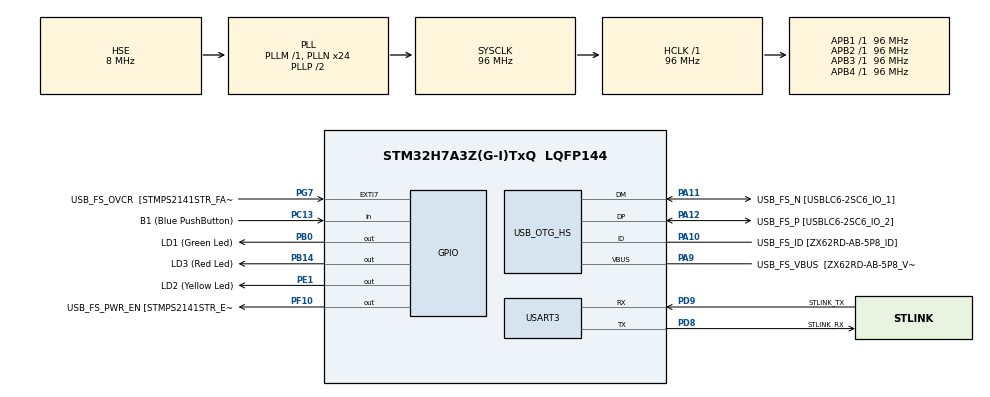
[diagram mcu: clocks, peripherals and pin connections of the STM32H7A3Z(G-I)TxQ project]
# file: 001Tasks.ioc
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Mcu.Family=STM32H7
Mcu.Name=STM32H7A3Z(G-I)TxQ
Mcu.Package=LQFP144
NVIC.PriorityGroup=NVIC_PRIORITYGROUP_4
NVIC.TIM6_DAC_IRQn=true\:15\:0\:false\:false\:true\:false\:true\:true
NVIC.TimeBase=TIM6_DAC_IRQn
NVIC.TimeBaseIP=TIM6
PA10.GPIO_Label=USB_FS_ID [ZX62RD-AB-5P8_ID]
PA10.Mode=OTG/Dual-Role-Device-FS
PA10.Signal=USB_OTG_HS_ID
PA11.GPIO_Label=USB_FS_N [USBLC6-2SC6_IO_1]
PA11.Mode=OTG/Dual-Role-Device-FS
PA11.Signal=USB_OTG_HS_DM
PA12.GPIO_Label=USB_FS_P [USBLC6-2SC6_IO_2]
PA12.Mode=OTG/Dual-Role-Device-FS
PA12.Signal=USB_OTG_HS_DP
PA9.GPIO_Label=USB_FS_VBUS  [ZX62RD-AB-5P8_VBUS]
PA9.Mode=Activate_VBUS_FS
PA9.Signal=USB_OTG_HS_VBUS
PB0.GPIO_Label=LD1 (Green Led)
PB0.Signal=GPIO_Output
PB14.GPIO_Label=LD3 (Red Led)
PB14.Signal=GPIO_Output
PC13.GPIO_Label=B1 (Blue PushButton)
PC13.Signal=GPIO_Input
PC14-OSC32_IN.GPIO_Label=OSC32_IN
PC14-OSC32_IN.Mode=LSE-External-Oscillator
PC14-OSC32_IN.Signal=RCC_OSC32_IN
PC15-OSC32_OUT.GPIO_Label=OSC32_OUT
PC15-OSC32_OUT.Mode=LSE-External-Oscillator
PC15-OSC32_OUT.Signal=RCC_OSC32_OUT
PD8.GPIO_Label=STLINK_RX
PD8.Mode=Asynchronous
PD8.Signal=USART3_TX
PD9.GPIO_Label=STLINK_TX
PD9.Mode=Asynchronous
PD9.Signal=USART3_RX
PE1.GPIO_Label=LD2 (Yellow Led)
PE1.Signal=GPIO_Output
PF10.GPIO_Label=USB_FS_PWR_EN [STMPS2141STR_EN]
PF10.Signal=GPIO_Output
PG7.GPIO_Label=USB_FS_OVCR  [STMPS2141STR_FAULT]
PG7.Signal=GPXTI7
PH0-OSC_IN.GPIO_Label=PH0-MCU
PH0-OSC_IN.Mode=HSE-External-Clock-Source
PH0-OSC_IN.Signal=RCC_OSC_IN
PH1-OSC_OUT.GPIO_Label=PH1-MCU
PH1-OSC_OUT.Signal=RCC_OSC_OUT
ProjectManager.HeapSize=0x200
ProjectManager.StackSize=0x400
ProjectManager.TargetToolchain=STM32CubeIDE
RCC.ADCFreq_Value=16125000
RCC.APB1Freq_Value=96000000
RCC.APB2Freq_Value=96000000
RCC.APB3Freq_Value=96000000
RCC.APB4Freq_Value=96000000
RCC.CortexFreq_Value=96000000
RCC.DIVM1=1
RCC.DIVM3=1
RCC.DIVN1=24
RCC.DIVN3=24
RCC.DIVQ1=4
RCC.HCLKFreq_Value=96000000
RCC.HSE_VALUE=8000000
RCC.PLLFRACN=0
RCC.PLLSourceVirtual=RCC_PLLSOURCE_HSE
RCC.PWR_Regulator_Voltage_Scale=PWR_REGULATOR_VOLTAGE_SCALE0
RCC.SYSCLKFreq_VALUE=96000000
RCC.SYSCLKSource=RCC_SYSCLKSOURCE_PLLCLK
RCC.SupplySource=PWR_DIRECT_SMPS_SUPPLY
RCC.USBCLockSelection=RCC_USBCLKSOURCE_HSI48
RCC.USBFreq_Value=48000000
USART3.VirtualMode-Asynchronous=VM_ASYNC
VP_SYS_VS_tim6.Mode=TIM6
board=NUCLEO-H7A3ZI-Q

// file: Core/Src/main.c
/* USER CODE BEGIN Header */
/**
  ******************************************************************************
  * @file           : main.c
  * @brief          : Main program body
  ******************************************************************************
  * @attention
  *
  * Copyright (c) 2023 STMicroelectronics.
  * All rights reserved.
  *
  * This software is licensed under terms that can be found in the LICENSE file
  * in the root directory of this software component.
  * If no LICENSE file comes with this software, it is provided AS-IS.
  *
  ******************************************************************************
  */
/* USER CODE END Header */
#include "main.h"

/* USER CODE BEGIN Includes */
#include "FreeRTOS.h"
#include "task.h"
#include <stdio.h>
/* USER CODE END Includes */

UART_HandleTypeDef huart3;

void SystemClock_Config(void);
static void MX_GPIO_Init(void);
static void MX_USART3_UART_Init(void);
static void MX_USB_OTG_HS_USB_Init(void);
/* USER CODE BEGIN PFP */

static void Task1_handler(void *parameters);
static void Task2_handler(void *parameters);

/* USER CODE END PFP */

int main(void)
{
  /* USER CODE BEGIN 1 */

	TaskHandle_t task1_handle;
	TaskHandle_t  task2_handle;

	BaseType_t status;
  /* USER CODE END 1 */

  /* MCU Configuration--------------------------------------------------------*/

  /* Reset of all peripherals, Initializes the Flash interface and the Systick. */
  HAL_Init();

  /* Configure the system clock */
  SystemClock_Config();

  /* Initialize all configured peripherals */
  MX_GPIO_Init();
  MX_USART3_UART_Init();
  MX_USB_OTG_HS_USB_Init();
  /* USER CODE BEGIN 2 */
  status = xTaskCreate(Task1_handler, "Task-1", 200, "Hello World from Task-1", 2, &task1_handle);

  configASSERT(status == pdPASS);

  status = xTaskCreate(Task2_handler, "Task-2", 200, "Hello world from Task-2", 2, &task2_handle);

  configASSERT(status == pdPASS);

  //start freeRTOS schedular
  vTaskStartScheduler();

  //if control is comes here that means there is no memory int he heap to create
  // new task

  /* USER CODE END 2 */

  /* Infinite loop */
  while (1)
  {

  }
}

void SystemClock_Config(void)
{
  RCC_OscInitTypeDef RCC_OscInitStruct = {0};
  RCC_ClkInitTypeDef RCC_ClkInitStruct = {0};

  /*AXI clock gating */
  RCC->CKGAENR = 0xFFFFFFFF;

  /** Supply configuration update enable
  */
  HAL_PWREx_ConfigSupply(PWR_DIRECT_SMPS_SUPPLY);

  /** Configure the main internal regulator output voltage
  */
  __HAL_PWR_VOLTAGESCALING_CONFIG(PWR_REGULATOR_VOLTAGE_SCALE0);

  while(!__HAL_PWR_GET_FLAG(PWR_FLAG_VOSRDY)) {}

  /** Initializes the RCC Oscillators according to the specified parameters
  * in the RCC_OscInitTypeDef structure.
  */
  RCC_OscInitStruct.OscillatorType = RCC_OSCILLATORTYPE_HSI48|RCC_OSCILLATORTYPE_HSE;
  RCC_OscInitStruct.HSEState = RCC_HSE_BYPASS;
  RCC_OscInitStruct.HSI48State = RCC_HSI48_ON;
  RCC_OscInitStruct.PLL.PLLState = RCC_PLL_ON;
  RCC_OscInitStruct.PLL.PLLSource = RCC_PLLSOURCE_HSE;
  RCC_OscInitStruct.PLL.PLLM = 1;
  RCC_OscInitStruct.PLL.PLLN = 24;
  RCC_OscInitStruct.PLL.PLLP = 2;
  RCC_OscInitStruct.PLL.PLLQ = 4;
  RCC_OscInitStruct.PLL.PLLR = 2;
  RCC_OscInitStruct.PLL.PLLRGE = RCC_PLL1VCIRANGE_3;
  RCC_OscInitStruct.PLL.PLLVCOSEL = RCC_PLL1VCOWIDE;
  RCC_OscInitStruct.PLL.PLLFRACN = 0;
  if (HAL_RCC_OscConfig(&RCC_OscInitStruct) != HAL_OK)
  {
    Error_Handler();
  }

  /** Initializes the CPU, AHB and APB buses clocks
  */
  RCC_ClkInitStruct.ClockType = RCC_CLOCKTYPE_HCLK|RCC_CLOCKTYPE_SYSCLK
                              |RCC_CLOCKTYPE_PCLK1|RCC_CLOCKTYPE_PCLK2
                              |RCC_CLOCKTYPE_D3PCLK1|RCC_CLOCKTYPE_D1PCLK1;
  RCC_ClkInitStruct.SYSCLKSource = RCC_SYSCLKSOURCE_PLLCLK;
  RCC_ClkInitStruct.SYSCLKDivider = RCC_SYSCLK_DIV1;
  RCC_ClkInitStruct.AHBCLKDivider = RCC_HCLK_DIV1;
  RCC_ClkInitStruct.APB3CLKDivider = RCC_APB3_DIV1;
  RCC_ClkInitStruct.APB1CLKDivider = RCC_APB1_DIV1;
  RCC_ClkInitStruct.APB2CLKDivider = RCC_APB2_DIV1;
  RCC_ClkInitStruct.APB4CLKDivider = RCC_APB4_DIV1;

  if (HAL_RCC_ClockConfig(&RCC_ClkInitStruct, FLASH_LATENCY_2) != HAL_OK)
  {
    Error_Handler();
  }
}

static void MX_USART3_UART_Init(void)
{

  huart3.Instance = USART3;
  huart3.Init.BaudRate = 115200;
  huart3.Init.WordLength = UART_WORDLENGTH_8B;
  huart3.Init.StopBits = UART_STOPBITS_1;
  huart3.Init.Parity = UART_PARITY_NONE;
  huart3.Init.Mode = UART_MODE_TX_RX;
  huart3.Init.HwFlowCtl = UART_HWCONTROL_NONE;
  huart3.Init.OverSampling = UART_OVERSAMPLING_16;
  huart3.Init.OneBitSampling = UART_ONE_BIT_SAMPLE_DISABLE;
  huart3.Init.ClockPrescaler = UART_PRESCALER_DIV1;
  huart3.AdvancedInit.AdvFeatureInit = UART_ADVFEATURE_NO_INIT;
  if (HAL_UART_Init(&huart3) != HAL_OK)
  {
    Error_Handler();
  }
  if (HAL_UARTEx_SetTxFifoThreshold(&huart3, UART_TXFIFO_THRESHOLD_1_8) != HAL_OK)
  {
    Error_Handler();
  }
  if (HAL_UARTEx_SetRxFifoThreshold(&huart3, UART_RXFIFO_THRESHOLD_1_8) != HAL_OK)
  {
    Error_Handler();
  }
  if (HAL_UARTEx_DisableFifoMode(&huart3) != HAL_OK)
  {
    Error_Handler();
  }

}

static void MX_USB_OTG_HS_USB_Init(void)
{

}

static void MX_GPIO_Init(void)
{
  GPIO_InitTypeDef GPIO_InitStruct = {0};

  /* GPIO Ports Clock Enable */
  __HAL_RCC_GPIOC_CLK_ENABLE();
  __HAL_RCC_GPIOF_CLK_ENABLE();
  __HAL_RCC_GPIOH_CLK_ENABLE();
  __HAL_RCC_GPIOB_CLK_ENABLE();
  __HAL_RCC_GPIOD_CLK_ENABLE();
  __HAL_RCC_GPIOG_CLK_ENABLE();
  __HAL_RCC_GPIOA_CLK_ENABLE();
  __HAL_RCC_GPIOE_CLK_ENABLE();

  /*Configure GPIO pin Output Level */
  HAL_GPIO_WritePin(USB_FS_PWR_EN_GPIO_Port, USB_FS_PWR_EN_Pin, GPIO_PIN_RESET);

  /*Configure GPIO pin Output Level */
  HAL_GPIO_WritePin(GPIOB, LD1_Pin|LD3_Pin, GPIO_PIN_RESET);

  /*Configure GPIO pin Output Level */
  HAL_GPIO_WritePin(LD2_GPIO_Port, LD2_Pin, GPIO_PIN_RESET);

  /*Configure GPIO pin : B1_Pin */
  GPIO_InitStruct.Pin = B1_Pin;
  GPIO_InitStruct.Mode = GPIO_MODE_INPUT;
  GPIO_InitStruct.Pull = GPIO_NOPULL;
  HAL_GPIO_Init(B1_GPIO_Port, &GPIO_InitStruct);

  /*Configure GPIO pin : USB_FS_PWR_EN_Pin */
  GPIO_InitStruct.Pin = USB_FS_PWR_EN_Pin;
  GPIO_InitStruct.Mode = GPIO_MODE_OUTPUT_PP;
  GPIO_InitStruct.Pull = GPIO_NOPULL;
  GPIO_InitStruct.Speed = GPIO_SPEED_FREQ_LOW;
  HAL_GPIO_Init(USB_FS_PWR_EN_GPIO_Port, &GPIO_InitStruct);

  /*Configure GPIO pins : LD1_Pin LD3_Pin */
  GPIO_InitStruct.Pin = LD1_Pin|LD3_Pin;
  GPIO_InitStruct.Mode = GPIO_MODE_OUTPUT_PP;
  GPIO_InitStruct.Pull = GPIO_NOPULL;
  GPIO_InitStruct.Speed = GPIO_SPEED_FREQ_LOW;
  HAL_GPIO_Init(GPIOB, &GPIO_InitStruct);

  /*Configure GPIO pin : USB_FS_OVCR_Pin */
  GPIO_InitStruct.Pin = USB_FS_OVCR_Pin;
  GPIO_InitStruct.Mode = GPIO_MODE_IT_RISING;
  GPIO_InitStruct.Pull = GPIO_NOPULL;
  HAL_GPIO_Init(USB_FS_OVCR_GPIO_Port, &GPIO_InitStruct);

  /*Configure GPIO pin : USB_FS_VBUS_Pin */
  GPIO_InitStruct.Pin = USB_FS_VBUS_Pin;
  GPIO_InitStruct.Mode = GPIO_MODE_INPUT;
  GPIO_InitStruct.Pull = GPIO_NOPULL;
  HAL_GPIO_Init(USB_FS_VBUS_GPIO_Port, &GPIO_InitStruct);

  /*Configure GPIO pin : USB_FS_ID_Pin */
  GPIO_InitStruct.Pin = USB_FS_ID_Pin;
  GPIO_InitStruct.Mode = GPIO_MODE_AF_PP;
  GPIO_InitStruct.Pull = GPIO_NOPULL;
  GPIO_InitStruct.Speed = GPIO_SPEED_FREQ_LOW;
  GPIO_InitStruct.Alternate = GPIO_AF10_OTG1_HS;
  HAL_GPIO_Init(USB_FS_ID_GPIO_Port, &GPIO_InitStruct);

  /*Configure GPIO pins : USB_FS_N_Pin USB_FS_P_Pin */
  GPIO_InitStruct.Pin = USB_FS_N_Pin|USB_FS_P_Pin;
  GPIO_InitStruct.Mode = GPIO_MODE_AF_PP;
  GPIO_InitStruct.Pull = GPIO_NOPULL;
  GPIO_InitStruct.Speed = GPIO_SPEED_FREQ_LOW;
  HAL_GPIO_Init(GPIOA, &GPIO_InitStruct);

  /*Configure GPIO pin : LD2_Pin */
  GPIO_InitStruct.Pin = LD2_Pin;
  GPIO_InitStruct.Mode = GPIO_MODE_OUTPUT_PP;
  GPIO_InitStruct.Pull = GPIO_NOPULL;
  GPIO_InitStruct.Speed = GPIO_SPEED_FREQ_LOW;
  HAL_GPIO_Init(LD2_GPIO_Port, &GPIO_InitStruct);

}

/* USER CODE BEGIN 4 */

static void Task1_handler(void *parameters){

	while(1){
		printf("%s\n",(char*)parameters);
	}
}

static void Task2_handler(void *parameters){
	while(1){
		printf("%s\n",(char*)parameters);
	}
}

/* USER CODE END 4 */

void HAL_TIM_PeriodElapsedCallback(TIM_HandleTypeDef *htim)
{
  if (htim->Instance == TIM6) {
    HAL_IncTick();
  }
}

void Error_Handler(void)
{
  __disable_irq();
  while (1)
  {
  }
}
